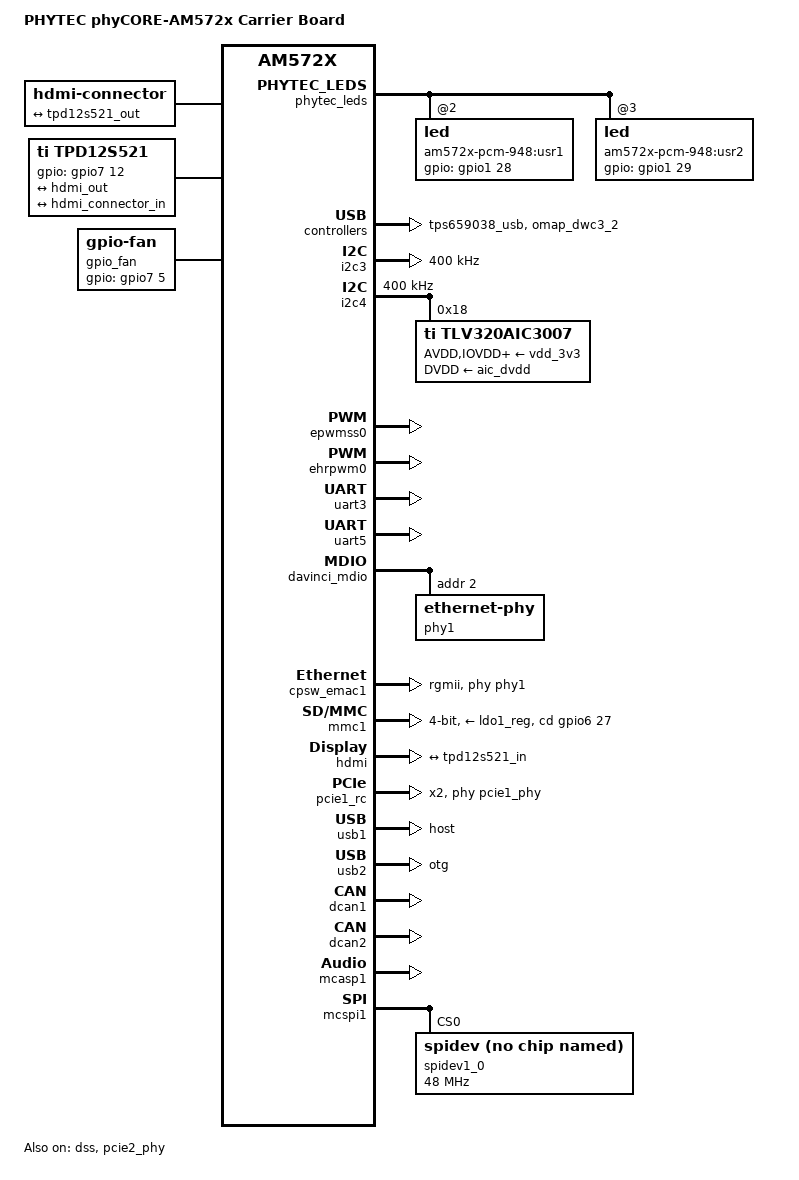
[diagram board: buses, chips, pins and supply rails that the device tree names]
/*
 * Copyright (C) 2015 PHYTEC America, LLC - www.phytec.com
 *
 * This program is free software; you can redistribute it and/or modify
 * it under the terms of the GNU General Public License version 2 as
 * published by the Free Software Foundation.
 */

/ {
	model = "PHYTEC phyCORE-AM572x Carrier Board";
	compatible = "phytec,am572x-pcm-948", "phytec,am572x-phycore-som", "ti,dra72", "ti,dra74", "ti,dra7";

	aliases {
		display0 = &lcd2;
		display1 = &hdmi0;

		sound0 = &rdk_audio;
		sound1 = &hdmi;
	};

	hdmi0: connector {
		compatible = "hdmi-connector";
		status = "okay";
		label = "hdmi";

		type = "a";

		port {
			hdmi_connector_in: endpoint {
				remote-endpoint = <&tpd12s521_out>;
			};
		};
	};

	tpd12s521: encoder {
		compatible = "ti,tpd12s521";
		status = "okay";

		gpios = <&gpio7 12 GPIO_ACTIVE_HIGH>;	/* gpio7_12/sp1_cs2, HPD */

		ports {
			#address-cells = <1>;
			#size-cells = <0>;

			port@0 {
				reg = <0>;

				tpd12s521_in: endpoint {
					remote-endpoint = <&hdmi_out>;
				};
			};

			port@1 {
				reg = <1>;

				tpd12s521_out: endpoint {
					remote-endpoint = <&hdmi_connector_in>;
				};
			};
		};
	};

	rdk_audio: sound {
		compatible = "simple-audio-card";
		status = "okay";
		simple-audio-card,name = "phyCORE-AM57xx-RDK";
		simple-audio-card,widgets =
			"Line", "Line Out",
			"Line", "Line In",
			"Microphone", "Mic Jack",
			"Headphone", "HP Jack";
		simple-audio-card,routing =
			"Line Out",	"LLOUT",
			"Line Out",	"RLOUT",

			"LINE1R",	"Line In",
			"LINE1R",	"Line In",

			"MIC3L",	"Mic Jack",
			"MIC3R",	"Mic Jack",
			"Mic Jack",	"Mic Bias",

			"HP Jack",	"HPLOUT",
			"HP Jack",	"HPROUT";
		simple-audio-card,format = "dsp_b";
		simple-audio-card,bitclock-master = <&sound_master>;
		simple-audio-card,frame-master = <&sound_master>;
		simple-audio-card,bitclock-inversion;

		simple-audio-card,cpu {
			sound-dai = <&mcasp1>;
		};

		sound_master: simple-audio-card,codec {
			sound-dai = <&tlv320aic3007>;
			clocks = <&clkout2_clk>;
		};
	};

	gpio_fan: gpio_fan {
		compatible = "gpio-fan";
		status = "okay";
		pinctrl-names = "default";
		pinctrl-0 = <&fan_pins_default>;

		gpios =  <&gpio7 5 GPIO_ACTIVE_HIGH>;
		gpio-fan,speed-map = <0    0
				      13000 1>;
		cooling-min-state = <0>;
		cooling-max-state = <1>;
		#cooling-cells = <2>;
	};

	/* For LVDS display at connector X25 */
	backlight: backlight {
		compatible = "pwm-backlight";
		status = "disabled";

		pinctrl-names = "default";
		pinctrl-0 = <&ehrpwm1a_pin>;

		pwms = <&ehrpwm0 0 50000 0>;
	};

	lcd2: display {
		status = "disabled";
		pinctrl-names = "default";
		pinctrl-0 = <&lcd_pins &lcd_pins_iodelay_conf>;

		label = "lcd2";

		enable-gpios = <&gpio8 23 GPIO_ACTIVE_LOW>;
	};

	/* For wilink8 interface at connector X26 */
	wlan_fixed: fixedregulator-wlan {
		compatible = "regulator-fixed";
		status = "disabled";

		pinctrl-names = "default";
		pinctrl-0 = <&wlan_pins_default>;

		regulator-name = "wlan_fixed";
		gpio = <&gpio1 24 GPIO_ACTIVE_HIGH>;
		enable-active-high;
	};

	/* For bluetooth (wilink8) at connector X26 */
	bt_kim: kim {
		status = "disabled";

		pinctrl-names = "default", "sleep";
		pinctrl-0 = <&bt_pins_default>;
		pinctrl-1 = <&bt_pins_sleep>;
		nshutdown_gpio = <22>;  /* GPIO1_22 */
		dev_name = "/dev/ttyS9"; /* UART10 for BT */
	};


	/* For parallel camera interface at connector X23 */
	cam_ext_mclk: cam_ext_mclk {
		compatible = "fixed-clock";
		status = "disabled";

		#clock-cells = <0>;
		clock-frequency = <27000000>;
	};

	vcam_fixed: fixedregulator-vcam {
		compatible = "regulator-fixed";
		status = "disabled";

		regulator-name = "vcam_fixed";
		regulator-min-microvolt = <2800000>;
		regulator-max-microvolt = <2800000>;
	};
};

&dra7_pmx_core {
	leds_cb_pins_default: leds_cb_pins_default {
		pinctrl-single,pins = <
			0x58 (PIN_OUTPUT | MUX_MODE14)	/* gpmc_a6.gpio1_28 */
			0x5c (PIN_OUTPUT | MUX_MODE14)	/* gpmc_a7.gpio1_29 */
		>;
	};

	leds_cb_pins_sleep: leds_cb_pins_sleep {
		pinctrl-single,pins = <
			0x58 (PIN_INPUT_PULLDOWN | MUX_MODE15)
			0x5c (PIN_INPUT_PULLDOWN | MUX_MODE15)
		>;
	};

	fan_pins_default: fan_pins_default {
		pinctrl-single,pins = <
			0x48 (PIN_OUTPUT | MUX_MODE14)	/* gpmc_a2.gpio7_5 */
		>;
	};

	i2c2_pins: pinmux_i2c2_pins {
		pinctrl-single,pins = <
			0x408 (PIN_INPUT | MUX_MODE1)	/* hdmi1_ddc_scl */
			0x40c (PIN_INPUT | MUX_MODE1)	/* hdmi1_ddc_sda */
		>;
	};

	i2c4_pins_default: i2c4_pins_default {
		pinctrl-single,pins = <
			0x40 (PIN_INPUT_PULLUP | MUX_MODE7)	/* gpmc_a0.i2c4_scl */
			0x44 (PIN_INPUT_PULLUP | MUX_MODE7)	/* gpmc_a1.i2c4_sda */
		>;
	};

	i2c4_pins_sleep: i2c4_pins_sleep {
		pinctrl-single,pins = <
			0x40 (PIN_INPUT | MUX_MODE15)
			0x44 (PIN_INPUT | MUX_MODE15)
		>;
	};

	uart3_pins_default: uart3_pins_default {
		pinctrl-single,pins = <
			0x248 (PIN_INPUT_SLEW | MUX_MODE0) /* uart3_rxd.rxd */
			0x24c (PIN_INPUT_SLEW | MUX_MODE0) /* uart3_txd.txd */
		>;
	};

	uart3_pins_sleep: uart3_pins_sleep{
		pinctrl-single,pins = <
			0x248 (PIN_INPUT | MUX_MODE15)
			0x24c (PIN_INPUT | MUX_MODE15)
		>;
	};

	uart5_pins_default: uart5_pins_default {
		pinctrl-single,pins = <
			0x1dc (PIN_INPUT_SLEW | MUX_MODE2) /* vout1_d0.uart5_rxd */
			0x1e0 (PIN_INPUT_SLEW | MUX_MODE2) /* vout1_d1.uart5_txd */
		>;
	};

	uart5_pins_sleep: uart5_pins_sleep{
		pinctrl-single,pins = <
			0x1dc (PIN_INPUT | MUX_MODE15)
			0x1e0 (PIN_INPUT | MUX_MODE15)
		>;
	};


	mmc1_pins_default: mmc1_pins_default {
		pinctrl-single,pins = <
			0x36c (PIN_INPUT | MUX_MODE14)	/* mmc1sdcd.gpio6_27 */
			0x354 (PIN_INPUT_PULLUP | MUX_MODE0) /* mmc1_clk.clk */
			0x358 (PIN_INPUT_PULLUP | MUX_MODE0) /* mmc1_cmd.cmd */
			0x35c (PIN_INPUT_PULLUP | MUX_MODE0) /* mmc1_dat0.dat0 */
			0x360 (PIN_INPUT_PULLUP | MUX_MODE0) /* mmc1_dat1.dat1 */
			0x364 (PIN_INPUT_PULLUP | MUX_MODE0) /* mmc1_dat2.dat2 */
			0x368 (PIN_INPUT_PULLUP | MUX_MODE0) /* mmc1_dat3.dat3 */
		>;
	};

	mmc1_pins_sleep: mmc1_pins_sleep {
		pinctrl-single,pins = <
			0x354 (PIN_INPUT | MUX_MODE15)
			0x358 (PIN_INPUT | MUX_MODE15)
			0x35c (PIN_INPUT | MUX_MODE15)
			0x360 (PIN_INPUT | MUX_MODE15)
			0x364 (PIN_INPUT | MUX_MODE15)
			0x368 (PIN_INPUT | MUX_MODE15)
			0x36c (PIN_INPUT | MUX_MODE15)
		>;
	};

	mmc1_pins_hs: mmc1_pins_hs {
		pinctrl-single,pins = <
			0x354 (PIN_INPUT_PULLUP | MUX_VIRTUAL_MODE11 | MUX_MODE0)       /* mmc1_clk.clk */
			0x358 (PIN_INPUT_PULLUP | MUX_VIRTUAL_MODE11 | MUX_MODE0)       /* mmc1_cmd.cmd */
			0x35c (PIN_INPUT_PULLUP | MUX_VIRTUAL_MODE11 | MUX_MODE0)       /* mmc1_dat0.dat0 */
			0x360 (PIN_INPUT_PULLUP | MUX_VIRTUAL_MODE11 | MUX_MODE0)       /* mmc1_dat1.dat1 */
			0x364 (PIN_INPUT_PULLUP | MUX_VIRTUAL_MODE11 | MUX_MODE0)       /* mmc1_dat2.dat2 */
			0x368 (PIN_INPUT_PULLUP | MUX_VIRTUAL_MODE11 | MUX_MODE0)       /* mmc1_dat3.dat3 */
		>;
	};

	wlan_pins_default: wlan_pins_default {
		pinctrl-single,pins = <
			0x39c (PIN_OUTPUT_PULLDOWN | MUX_MODE14) /* mmc3_dat6.gpio1_24 */
			0x3a0 (PIN_INPUT_PULLDOWN | MUX_MODE14)  /* mmc3_dat7.gpio1_25 */
		>;
	};

	bt_pins_default: bt_pins_default {
		pinctrl-single,pins = <
			0x170 (PIN_INPUT_SLEW | MUX_MODE8) /* vin2a_d2.uart10.rxd */
			0x174 (PIN_INPUT_SLEW | MUX_MODE8) /* vin2a_d3.uart10.txd */
			0x178 (PIN_INPUT_SLEW | MUX_MODE8) /* vin2a_d4.uart10.ctsn */
			0x17c (PIN_INPUT_SLEW | MUX_MODE8) /* vin2a_d5.uart10.rtsn */
			0x394 (PIN_OUTPUT_PULLDOWN | MUX_MODE14) /* mmc3_dat4.gpio1_22 */
		>;
	};

	bt_pins_sleep: bt_pins_sleep {
		pinctrl-single,pins = <
			0x170 (PIN_INPUT | MUX_MODE15)
			0x174 (PIN_INPUT | MUX_MODE15)
			0x178 (PIN_INPUT | MUX_MODE15)
			0x17c (PIN_INPUT | MUX_MODE15)
			0x394 (PIN_OUTPUT_PULLUP | MUX_MODE14)
		>;
	};

	emac1_pins_default: emac1_pins_default {
		pinctrl-single,pins = <
			/* Slave 2 */
			0x198 (PIN_OUTPUT | MUX_MODE3)	/* rgmii2_tclk */
			0x19c (PIN_OUTPUT | MUX_MODE3)	/* rgmii2_tctl */
			0x1a0 (PIN_OUTPUT | MUX_MODE3)	/* rgmii2_td3 */
			0x1a4 (PIN_OUTPUT | MUX_MODE3)	/* rgmii2_td2 */
			0x1a8 (PIN_OUTPUT | MUX_MODE3)	/* rgmii2_td1 */
			0x1ac (PIN_OUTPUT | MUX_MODE3)	/* rgmii2_td0 */
			0x1b0 (PIN_INPUT | MUX_MODE3)	/* rgmii2_rclk */
			0x1b4 (PIN_INPUT | MUX_MODE3)	/* rgmii2_rctl */
			0x1b8 (PIN_INPUT | MUX_MODE3)	/* rgmii2_rd3 */
			0x1bc (PIN_INPUT | MUX_MODE3)	/* rgmii2_rd2 */
			0x1c0 (PIN_INPUT | MUX_MODE3)	/* rgmii2_rd1 */
			0x1c4 (PIN_INPUT | MUX_MODE3)	/* rgmii2_rd0 */
		>;

	};

	emac1_pins_sleep: emac1_pins_sleep {
		pinctrl-single,pins = <
			/* Slave 2 */
			0x198 (PIN_INPUT | MUX_MODE15)
			0x19c (PIN_INPUT | MUX_MODE15)
			0x1a0 (PIN_INPUT | MUX_MODE15)
			0x1a4 (PIN_INPUT | MUX_MODE15)
			0x1a8 (PIN_INPUT | MUX_MODE15)
			0x1ac (PIN_INPUT | MUX_MODE15)
			0x1b0 (PIN_INPUT | MUX_MODE15)
			0x1b4 (PIN_INPUT | MUX_MODE15)
			0x1b8 (PIN_INPUT | MUX_MODE15)
			0x1bc (PIN_INPUT | MUX_MODE15)
			0x1c0 (PIN_INPUT | MUX_MODE15)
			0x1c4 (PIN_INPUT | MUX_MODE15)
		>;
	};

	hdmi_pins: pinmux_hdmi_pins {
		pinctrl-single,pins = <
			0x3b8 (PIN_INPUT_PULLDOWN | MUX_MODE14) /* spi1_cs2.gpio7_12 */
			0x3bc (PIN_INPUT_SLEW | MUX_MODE6)      /* spi1_cs3.hdmi1_cec */
		>;
	};

	usb1_pins: pinmux_usb1_pins {
		pinctrl-single,pins = <
			0x280 (PIN_INPUT_SLEW | MUX_MODE0) /* usb1_drvvbus */
			0x22c (PIN_INPUT | MUX_MODE14)     /* vout1_d20.gpio8_20 */
		>;
	};

	usb2_pins_default: pinmux_usb2_pins_default {
		pinctrl-single,pins = <
			0x284 (PIN_INPUT_SLEW | MUX_MODE0) /* usb2_drvvbus */
			0x230 (PIN_INPUT | MUX_MODE14)     /* vout1_d21.gpio8_21 */
		>;
	};

	usb2_pins_sleep: pinmux_usb2_pins_sleep {
		pinctrl-single,pins = <
			0x284 (PIN_INPUT_SLEW | MUX_MODE15) /* usb2_drvvbus */
			0x230 (PIN_INPUT | MUX_MODE14)     /* vout1_d21.gpio8_21 */
		>;
	};

	extcon_pins_default:  extcon_pins_default {
		pinctrl-single,pins = <
			0x1d0 (PIN_INPUT_PULLDOWN | MUX_MODE14)	/* vout1_fld.gpio4_21 */
			0x1f4 (PIN_INPUT | MUX_MODE14)		/* vout1_d6.gpio8_6 */
		>;
	};

	clkout2_pins_default: clkout2_pins_default {
		pinctrl-single,pins = <
			0x294 (PIN_INPUT_PULLDOWN | MUX_MODE9)	/* xref_clk0.clkout2 */
		>;
	};

	clkout2_pins_sleep: clkout2_pins_sleep {
		pinctrl-single,pins = <
			0x294 (PIN_INPUT | MUX_MODE15)	/* xref_clk0.clkout2 */
		>;
	};

	dcan1_pins: dcan1_pins {
		pinctrl-single,pins = <
			0x3d0 (PIN_OUTPUT_PULLUP | MUX_MODE0) /* dcan1_tx.tx */
			0x3d4 (PIN_INPUT_PULLUP | MUX_MODE0) /* dcan1_rx.rx */
		>;
	};

	dcan2_pins: dcan2_pins {
		pinctrl-single,pins = <
			0x288 (PIN_OUTPUT_PULLUP | MUX_MODE2) /* gpio6_14.dcan2_tx */
			0x28c (PIN_INPUT_PULLUP | MUX_MODE2) /* gpio6_15.dcan2_rx */
		>;
	};

	mcasp1_pins_default: mcasp1_pins_default {
		pinctrl-single,pins = <
			0x2a4 (PIN_INPUT_PULLDOWN | MUX_MODE0) /* mcasp1_aclkx.aclkx */
			0x2a8 (PIN_INPUT_PULLDOWN | MUX_MODE0) /* mcasp1_fsx.fsx */
			0x2ec (PIN_OUTPUT_PULLDOWN | MUX_MODE0) /* mcasp1_axr14.axr14 */
			0x2f0 (PIN_INPUT_PULLDOWN | MUX_MODE0) /* mcasp1_axr15.axr15 */
		>;
	};

	mcasp1_pins_sleep: mcasp1_pins_sleep {
		pinctrl-single,pins = <
			0x2a4 (PIN_INPUT | MUX_MODE15)
			0x2a8 (PIN_INPUT | MUX_MODE15)
			0x2ec (PIN_INPUT | MUX_MODE15)
			0x2f0 (PIN_INPUT | MUX_MODE15)
		>;
	};

	ehrpwm1a_pin: ehrpwm1a_pin {
		pinctrl-single,pins = <
			0xf4 (PIN_OUTPUT_PULLDOWN | MUX_MODE10) /* vin1a_d0.ehrpwm1A */
		>;
	};

	edt_ts_irq_pin: edt_ts_irq_pin {
		pinctrl-single,pins = <
			0x234 (PIN_INPUT_PULLUP | MUX_MODE14) /* vout1_d22.gpio8_22 */
		>;
	};

        lcd_pins: pinmux_lcd {
                pinctrl-single,pins = <
			0x158 (PIN_OUTPUT | MUX_MODE4 | SLEWCONTROL | MODE_SELECT)   /* vin2a_de0.vout2_de */
			0x15c (PIN_OUTPUT | MUX_MODE4 | SLEWCONTROL | MODE_SELECT)   /* vin2a_fld0.vout2_clk */
			0x160 (PIN_OUTPUT | MUX_MODE4 | SLEWCONTROL | MODE_SELECT)   /* vin2a_hsync0.vout2_hsync */
			0x164 (PIN_OUTPUT | MUX_MODE4 | SLEWCONTROL | MODE_SELECT)   /* vin2a_vsync0.vout2_vsync */
			0x2ac (PIN_OUTPUT | MUX_MODE6 | SLEWCONTROL | MODE_SELECT)   /* mcasp1_aclkr.vout2_d0 */
			0x2b0 (PIN_OUTPUT | MUX_MODE6 | SLEWCONTROL | MODE_SELECT)   /* mcasp1_fsr.vout2_d1 */
			0x2bc (PIN_OUTPUT | MUX_MODE6 | SLEWCONTROL | MODE_SELECT)   /* mcasp1_axr2.vout2_d2 */
			0x2c0 (PIN_OUTPUT | MUX_MODE6 | SLEWCONTROL | MODE_SELECT)   /* mcasp1_axr3.vout2_d3 */
			0x2c4 (PIN_OUTPUT | MUX_MODE6 | SLEWCONTROL | MODE_SELECT)   /* mcasp1_axr4.vout2_d4 */
			0x2c8 (PIN_OUTPUT | MUX_MODE6 | SLEWCONTROL | MODE_SELECT)   /* mcasp1_axr5.vout2_d5 */
			0x2cc (PIN_OUTPUT | MUX_MODE6 | SLEWCONTROL | MODE_SELECT)   /* mcasp1_axr6.vout2_d6 */
			0x2d0 (PIN_OUTPUT | MUX_MODE6 | SLEWCONTROL | MODE_SELECT)   /* mcasp1_axr7.vout2_d7 */
			0x2fc (PIN_OUTPUT | MUX_MODE6 | SLEWCONTROL | MODE_SELECT)   /* mcasp2_aclkr.vout2_d8 */
			0x300 (PIN_OUTPUT | MUX_MODE6 | SLEWCONTROL | MODE_SELECT)   /* mcasp2_fsr.vout2_d9 */
			0x304 (PIN_OUTPUT | MUX_MODE6 | SLEWCONTROL | MODE_SELECT)   /* mcasp2_axr0.vout2_d10 */
			0x308 (PIN_OUTPUT | MUX_MODE6 | SLEWCONTROL | MODE_SELECT)   /* mcasp2_axr1.vout2_d11 */
			0x314 (PIN_OUTPUT | MUX_MODE6 | SLEWCONTROL | MODE_SELECT)   /* mcasp2_axr4.vout2_d12 */
			0x318 (PIN_OUTPUT | MUX_MODE6 | SLEWCONTROL | MODE_SELECT)   /* mcasp2_axr5.vout2_d13 */
			0x31c (PIN_OUTPUT | MUX_MODE6 | SLEWCONTROL | MODE_SELECT)   /* mcasp2_axr6.vout2_d14 */
			0x320 (PIN_OUTPUT | MUX_MODE6 | SLEWCONTROL | MODE_SELECT)   /* mcasp2_axr7.vout2_d15 */
			0x334 (PIN_OUTPUT | MUX_MODE6 | SLEWCONTROL | MODE_SELECT)   /* mcasp4_aclkx.vout2_d16 */
			0x338 (PIN_OUTPUT | MUX_MODE6 | SLEWCONTROL | MODE_SELECT)   /* mcasp4_fsx.vout2_d17 */
			0x33c (PIN_OUTPUT | MUX_MODE6 | SLEWCONTROL | MODE_SELECT)   /* mcasp4_axr0.vout2_d18 */
			0x340 (PIN_OUTPUT | MUX_MODE6 | SLEWCONTROL | MODE_SELECT)   /* mcasp4_axr1.vout2_d19 */
			0x344 (PIN_OUTPUT | MUX_MODE6 | SLEWCONTROL | MODE_SELECT)   /* mcasp5_aclkx.vout2_d20 */
			0x348 (PIN_OUTPUT | MUX_MODE6 | SLEWCONTROL | MODE_SELECT)   /* mcasp5_fsx.vout2_d21 */
			0x34c (PIN_OUTPUT | MUX_MODE6 | SLEWCONTROL | MODE_SELECT)   /* mcasp5_axr0.vout2_d22 */
			0x350 (PIN_OUTPUT | MUX_MODE6 | SLEWCONTROL | MODE_SELECT)   /* mcasp5_axr1.vout2_d23 */

			0x238 (PIN_OUTPUT_PULLDOWN | MUX_MODE14) /* vout1_d23.gpio8_23 */
		>;
	};

	mmc3_pins_default: mmc3_pins_default {
		pinctrl-single,pins = <
			0x37c (PIN_INPUT_PULLUP | MODE_SELECT | MUX_MODE0) /* mmc3_clk.clk */
			0x380 (PIN_INPUT_PULLUP | MODE_SELECT | MUX_MODE0) /* mmc3_cmd.cmd */
			0x384 (PIN_INPUT_PULLUP | MODE_SELECT | MUX_MODE0) /* mmc3_dat0.dat0 */
			0x388 (PIN_INPUT_PULLUP | MODE_SELECT | MUX_MODE0) /* mmc3_dat1.dat1 */
			0x38c (PIN_INPUT_PULLUP | MODE_SELECT | MUX_MODE0) /* mmc3_dat2.dat2 */
			0x390 (PIN_INPUT_PULLUP | MODE_SELECT | MUX_MODE0) /* mmc3_dat3.dat3 */
		>;
	};

	mmc3_pins_sleep: mmc3_pins_sleep {
		pinctrl-single,pins = <
			0x37c (PIN_INPUT_PULLDOWN | MUX_MODE15)
			0x380 (PIN_INPUT_PULLDOWN | MUX_MODE15)
			0x384 (PIN_INPUT_PULLDOWN | MUX_MODE15)
			0x388 (PIN_INPUT_PULLDOWN | MUX_MODE15)
			0x38c (PIN_INPUT_PULLDOWN | MUX_MODE15)
			0x390 (PIN_INPUT_PULLDOWN | MUX_MODE15)
		>;
	};

	mmc3_pins_hs: mmc3_pins_hs {
		pinctrl-single,pins = <
			0x37c (PIN_INPUT_PULLUP | MODE_SELECT | MUX_MODE0) /* mmc3_clk.clk */
			0x380 (PIN_INPUT_PULLUP | MODE_SELECT | MUX_MODE0) /* mmc3_cmd.cmd */
			0x384 (PIN_INPUT_PULLUP | MODE_SELECT | MUX_MODE0) /* mmc3_dat0.dat0 */
			0x388 (PIN_INPUT_PULLUP | MODE_SELECT | MUX_MODE0) /* mmc3_dat1.dat1 */
			0x38c (PIN_INPUT_PULLUP | MODE_SELECT | MUX_MODE0) /* mmc3_dat2.dat2 */
			0x390 (PIN_INPUT_PULLUP | MODE_SELECT | MUX_MODE0) /* mmc3_dat3.dat3 */
		>;
	};

	mmc3_pins_sdr12: mmc3_pins_sdr12 {
		pinctrl-single,pins = <
			0x37c (PIN_INPUT_PULLUP | MODE_SELECT | MUX_MODE0) /* mmc3_clk.mmc3_clk */
			0x380 (PIN_INPUT_PULLUP | MODE_SELECT | MUX_MODE0) /* mmc3_cmd.mmc3_cmd */
			0x384 (PIN_INPUT_PULLUP | MODE_SELECT | MUX_MODE0) /* mmc3_dat0.mmc3_dat0 */
			0x388 (PIN_INPUT_PULLUP | MODE_SELECT | MUX_MODE0) /* mmc3_dat1.mmc3_dat1 */
			0x38c (PIN_INPUT_PULLUP | MODE_SELECT | MUX_MODE0) /* mmc3_dat2.mmc3_dat2 */
			0x390 (PIN_INPUT_PULLUP | MODE_SELECT | MUX_MODE0) /* mmc3_dat3.mmc3_dat3 */
		>;
	};

	mmc3_pins_sdr25: mmc3_pins_sdr25 {
		pinctrl-single,pins = <
			0x37c (PIN_INPUT_PULLUP | MODE_SELECT | MUX_MODE0) /* mmc3_clk.mmc3_clk */
			0x380 (PIN_INPUT_PULLUP | MODE_SELECT | MUX_MODE0) /* mmc3_cmd.mmc3_cmd */
			0x384 (PIN_INPUT_PULLUP | MODE_SELECT | MUX_MODE0) /* mmc3_dat0.mmc3_dat0 */
			0x388 (PIN_INPUT_PULLUP | MODE_SELECT | MUX_MODE0) /* mmc3_dat1.mmc3_dat1 */
			0x38c (PIN_INPUT_PULLUP | MODE_SELECT | MUX_MODE0) /* mmc3_dat2.mmc3_dat2 */
			0x390 (PIN_INPUT_PULLUP | MODE_SELECT | MUX_MODE0) /* mmc3_dat3.mmc3_dat3 */
		>;
	};

	mmc3_pins_sdr50: mmc3_pins_sdr50 {
		pinctrl-single,pins = <
			0x37c (PIN_INPUT_PULLUP | MODE_SELECT | MUX_MODE0) /* mmc3_clk.mmc3_clk */
			0x380 (PIN_INPUT_PULLUP | MODE_SELECT | MUX_MODE0) /* mmc3_cmd.mmc3_cmd */
			0x384 (PIN_INPUT_PULLUP | MODE_SELECT | MUX_MODE0) /* mmc3_dat0.mmc3_dat0 */
			0x388 (PIN_INPUT_PULLUP | MODE_SELECT | MUX_MODE0) /* mmc3_dat1.mmc3_dat1 */
			0x38c (PIN_INPUT_PULLUP | MODE_SELECT | MUX_MODE0) /* mmc3_dat2.mmc3_dat2 */
			0x390 (PIN_INPUT_PULLUP | MODE_SELECT | MUX_MODE0) /* mmc3_dat3.mmc3_dat3 */
		>;
	};

	pcie1_pins: pcie1_pins {
		pinctrl-single,pins = <
			0x1e8 (PIN_INPUT | MUX_MODE14)	/* vout1_d3.gpio8_3 */
			0x1ec (PIN_OUTPUT_PULLDOWN | MUX_MODE14) /* vout1_d4.gpio8_4 */
			0x1f0 (PIN_INPUT | MUX_MODE14)	/* vout1_d5.gpio8_5 */
			0x1f8 (PIN_OUTPUT | MUX_MODE14)	/* vout1_d7.gpio8_7 */
		>;
	};

        cam_pins_default: cam_pins_default {
                pinctrl-single,pins = <
			0x21c (PIN_INPUT_PULLDOWN | MUX_MODE4 | MODE_SELECT)   /* vout1_d16.vin3a_d0 */
			0x220 (PIN_INPUT_PULLDOWN | MUX_MODE4 | MODE_SELECT)   /* vout1_d17.vin3a_d1 */
			0x224 (PIN_INPUT_PULLDOWN | MUX_MODE4 | MODE_SELECT)   /* vout1_d18.vin3a_d2 */
			0x228 (PIN_INPUT_PULLDOWN | MUX_MODE4 | MODE_SELECT)   /* vout1_d19.vin3a_d3 */
			0x144 (PIN_INPUT_PULLDOWN | MUX_MODE6 | MODE_SELECT)   /* vin1a_d20.vin3a_d4 */
			0x148 (PIN_INPUT_PULLDOWN | MUX_MODE6 | MODE_SELECT)   /* vin1a_d21.vin3a_d5 */
			0x14c (PIN_INPUT_PULLDOWN | MUX_MODE6 | MODE_SELECT)   /* vin1a_d22.vin3a_d6 */
			0x150 (PIN_INPUT_PULLDOWN | MUX_MODE6 | MODE_SELECT)   /* vin1a_d23.vin3a_d7 */

			0xe0 (PIN_INPUT | MUX_MODE6 | MODE_SELECT) /* vin1b_clk1.vin3a_clk0 */

			0x60 (PIN_INPUT_PULLDOWN | MUX_MODE2 | MODE_SELECT)   /* gpmc_a8.vin3a_hsync0 */
			0x64 (PIN_INPUT_PULLDOWN | MUX_MODE2 | MODE_SELECT)   /* gpmc_a9.vin3a_vsync0 */
			0x68 (PIN_INPUT_PULLDOWN | MUX_MODE2 | MODE_SELECT)   /* gpmc_a10.vin3a_de0 */
			0x6c (PIN_INPUT_PULLDOWN | MUX_MODE2 | MODE_SELECT)   /* gpmc_a11.vin3a_fld0 */

			0xc0 (PIN_OUTPUT | MUX_MODE2)	/* gpmc_clk.clkout1 */
			0x1e4 (PIN_OUTPUT | MUX_MODE14)   /* vout1_d2.gpio8_2 */
		>;
	};

	i2c3_pins_default: pinmux_i2c3_default {
		pinctrl-single,pins = <
			0x374 (PIN_INPUT_PULLUP | MUX_MODE2) /* gpio6_10.i2c3_sda */
			0x378 (PIN_INPUT_PULLUP | MUX_MODE2) /* gpio6_11.i2c3_scl */
		>;
	};

	i2c3_pins_sleep: pinmux_i2c3_sleep {
		pinctrl-single,pins = <
			0x374 (PIN_INPUT | MUX_MODE15)
			0x378 (PIN_INPUT | MUX_MODE15)
		>;
	};
};

&dra7_iodelay_core {
	lcd_pins_iodelay_conf: lcd_pins_iodelay_conf {
		pinctrl-single,pins = <
			0xb6c (A_DELAY_PS(2000) | G_DELAY_PS(229))	/* CFG_VIN2A_DE0_OUT */
			0xb78 (A_DELAY_PS(0) | G_DELAY_PS(697))	/* CFG_VIN2A_FLD0_OUT */
			0xb84 (A_DELAY_PS(2516) | G_DELAY_PS(0))	/* CFG_VIN2A_HSYNC0_OUT */
			0xb90 (A_DELAY_PS(1937) | G_DELAY_PS(406))	/* CFG_VIN2A_VSYNC0_OUT */
			0x3b0 (A_DELAY_PS(3116) | G_DELAY_PS(360))	/* CFG_MCASP1_ACLKR_OUT */
			0x488 (A_DELAY_PS(1170) | G_DELAY_PS(1000))	/* CFG_MCASP1_FSR_OUT */
			0x428 (A_DELAY_PS(1321) | G_DELAY_PS(1250))	/* CFG_MCASP1_AXR2_OUT */
			0x434 (A_DELAY_PS(1275) | G_DELAY_PS(1020))	/* CFG_MCASP1_AXR3_OUT */
			0x440 (A_DELAY_PS(1392) | G_DELAY_PS(1360))	/* CFG_MCASP1_AXR4_OUT */
			0x44c (A_DELAY_PS(2364) | G_DELAY_PS(240))	/* CFG_MCASP1_AXR5_OUT */
			0x458 (A_DELAY_PS(1480) | G_DELAY_PS(1090))	/* CFG_MCASP1_AXR6_OUT */
			0x464 (A_DELAY_PS(1307) | G_DELAY_PS(1180))	/* CFG_MCASP1_AXR7_OUT */

			0x4a0 (A_DELAY_PS(2983) | G_DELAY_PS(240))	/* CFG_MCASP2_ACLKR_OUT */
			0x4b8 (A_DELAY_PS(1721) | G_DELAY_PS(120))	/* CFG_MCASP2_AXR0_OUT */
			0x4c4 (A_DELAY_PS(1067) | G_DELAY_PS(840))	/* CFG_MCASP2_AXR1_OUT */
			0x4e8 (A_DELAY_PS(1093) | G_DELAY_PS(1040))	/* CFG_MCASP2_AXR4_OUT */
			0x4f4 (A_DELAY_PS(1810) | G_DELAY_PS(240))	/* CFG_MCASP2_AXR5_OUT */
			0x500 (A_DELAY_PS(2844) | G_DELAY_PS(240))	/* CFG_MCASP2_AXR6_OUT */
			0x50c (A_DELAY_PS(1608) | G_DELAY_PS(120))	/* CFG_MCASP2_AXR7_OUT */
			0x518 (A_DELAY_PS(980) | G_DELAY_PS(536))	/* CFG_MCASP2_FSR_OUT */

			0x560 (A_DELAY_PS(1635) | G_DELAY_PS(1240))	/* CFG_MCASP4_ACLKX_OUT */
			0x56c (A_DELAY_PS(1569) | G_DELAY_PS(120))	/* CFG_MCASP4_AXR0_OUT */
			0x578 (A_DELAY_PS(798) | G_DELAY_PS(600))	/* CFG_MCASP4_AXR1_OUT */
			0x584 (A_DELAY_PS(893) | G_DELAY_PS(540))	/* CFG_MCASP4_FSX_OUT */

			0x590 (A_DELAY_PS(4400) | G_DELAY_PS(1820))	/* CFG_MCASP5_ACLKX_OUT */
			0x59c (A_DELAY_PS(4640) | G_DELAY_PS(980))	/* CFG_MCASP5_AXR0_OUT */
			0x5a8 (A_DELAY_PS(4200) | G_DELAY_PS(1120))	/* CFG_MCASP5_AXR1_OUT */
			0x5b4 (A_DELAY_PS(4330) | G_DELAY_PS(1160))	/* CFG_MCASP5_FSX_OUT */
		>;
	};

	mmc3_iodelay_conf: mmc3_iodelay_conf {
		pinctrl-single,pins = <
			0x678 (A_DELAY_PS(406) | G_DELAY_PS(0))       /* CFG_MMC3_CLK_IN */
			0x680 (A_DELAY_PS(659) | G_DELAY_PS(0))       /* CFG_MMC3_CLK_OUT */
			0x684 (A_DELAY_PS(0) | G_DELAY_PS(0))         /* CFG_MMC3_CMD_IN */
			0x688 (A_DELAY_PS(0) | G_DELAY_PS(0))         /* CFG_MMC3_CMD_OEN */
			0x68c (A_DELAY_PS(0) | G_DELAY_PS(0))         /* CFG_MMC3_CMD_OUT */
			0x690 (A_DELAY_PS(130) | G_DELAY_PS(0))       /* CFG_MMC3_DAT0_IN */
			0x694 (A_DELAY_PS(0) | G_DELAY_PS(0))         /* CFG_MMC3_DAT0_OEN */
			0x698 (A_DELAY_PS(0) | G_DELAY_PS(0))         /* CFG_MMC3_DAT0_OUT */
			0x69c (A_DELAY_PS(169) | G_DELAY_PS(0))       /* CFG_MMC3_DAT1_IN */
			0x6a0 (A_DELAY_PS(0) | G_DELAY_PS(0))         /* CFG_MMC3_DAT1_OEN */
			0x6a4 (A_DELAY_PS(0) | G_DELAY_PS(0))         /* CFG_MMC3_DAT1_OUT */
			0x6a8 (A_DELAY_PS(0) | G_DELAY_PS(0))         /* CFG_MMC3_DAT2_IN */
			0x6ac (A_DELAY_PS(0) | G_DELAY_PS(0))         /* CFG_MMC3_DAT2_OEN */
			0x6b0 (A_DELAY_PS(0) | G_DELAY_PS(0))         /* CFG_MMC3_DAT2_OUT */
			0x6b4 (A_DELAY_PS(457) | G_DELAY_PS(0))       /* CFG_MMC3_DAT3_IN */
			0x6b8 (A_DELAY_PS(0) | G_DELAY_PS(0))         /* CFG_MMC3_DAT3_OEN */
			0x6bc (A_DELAY_PS(0) | G_DELAY_PS(0))         /* CFG_MMC3_DAT3_OUT */
		>;
	};

	cam_pins_iodelay_conf: cam_pins_iodelay_conf {
		pinctrl-single,pins = <
			0xbf4 (A_DELAY_PS(1996) | G_DELAY_PS(632))	/* CFG_VOUT1_D16_IN */
			0xc00 (A_DELAY_PS(2190) | G_DELAY_PS(790))	/* CFG_VOUT1_D17_IN */
			0xc0c (A_DELAY_PS(2100) | G_DELAY_PS(604))	/* CFG_VOUT1_D18_IN */
			0xc18 (A_DELAY_PS(2108) | G_DELAY_PS(286))	/* CFG_VOUT1_D19_IN */

			0x96c (A_DELAY_PS(1854) | G_DELAY_PS(1624))	/* CFG_VIN1A_D20_IN */
			0x978 (A_DELAY_PS(1906) | G_DELAY_PS(1520))	/* CFG_VIN1A_D21_IN */
			0x984 (A_DELAY_PS(1807) | G_DELAY_PS(1437))	/* CFG_VIN1A_D22_IN */
			0x990 (A_DELAY_PS(1996) | G_DELAY_PS(997))	/* CFG_VIN1A_D23_IN */

			0xa2c (A_DELAY_PS(0) | G_DELAY_PS(0))	/* CFG_VIN1B_CLK1_IN */

			0x24c (A_DELAY_PS(2154) | G_DELAY_PS(978))	/* CFG_GPMC_A8_IN */
			0x258 (A_DELAY_PS(2185) | G_DELAY_PS(1152))	/* CFG_GPMC_A9_IN */
			0x120 (A_DELAY_PS(2108) | G_DELAY_PS(823))	/* CFG_GPMC_A10_IN */
			0x12c (A_DELAY_PS(2068) | G_DELAY_PS(977))	/* CFG_GPMC_A11_IN */
		>;
	};
};

&phytec_leds {
	pinctrl-0 = <&leds_som_pins_default &leds_cb_pins_default>;

	led@2 {
		label = "am572x-pcm-948:usr1";
		gpios = <&gpio1 28 GPIO_ACTIVE_HIGH>;
		linux,default-trigger = "gpio";
		default-state = "off";
	};

	led@3 {
		label = "am572x-pcm-948:usr2";
		gpios = <&gpio1 29 GPIO_ACTIVE_HIGH>;
		linux,default-trigger = "gpio";
		default-state = "off";
	};
};

&tps659038 {
	tps659038_usb: tps659038_usb {
		status = "okay";
		compatible = "ti,palmas-usb-vid";
		pinctrl-names = "default";
		pinctrl-0 = <&extcon_pins_default>;
		id-gpio = <&gpio8 6 GPIO_ACTIVE_HIGH>;
		vbus-gpio = <&gpio4 21 GPIO_ACTIVE_HIGH>;

		ti,enable-vbus-detection;
		ti,enable-id-detection;
	};
};

&i2c3 {
	status = "okay";
	pinctrl-names = "default", "sleep";
	pinctrl-0 = <&i2c3_pins_default>;
	pinctrl-1 = <&i2c3_pins_sleep>;
	clock-frequency = <400000>;

	vm_009: mt9m111@48 {
		status = "disabled";

		pinctrl-names = "default";
		pinctrl-0 = <&cam_pins_default &cam_pins_iodelay_conf>;
		reset-gpios = <&gpio8 2 1>;

		clocks = <&cam_ext_mclk 0>;
		clock-names = "mclk";

		mt9m111,fixed-clock = <27000000>;
		mt9m111,allow-burst;
	};

	vm_011: mt9p031@48 {
		status = "disabled";

		pinctrl-names = "default";
		pinctrl-0 = <&cam_pins_default &cam_pins_iodelay_conf>;
		reset-gpios = <&gpio8 2 1>;

		vdd-supply = <&vcam_fixed>;
		vdd_io-supply = <&vcam_fixed>;
		vaa-supply = <&vcam_fixed>;

		clocks = <&cam_ext_mclk 0>;
		clock-names = "mclk";
	};
};

&i2c4 {
	status = "okay";
	pinctrl-names = "default", "sleep";
	pinctrl-0 = <&i2c4_pins_default>;
	pinctrl-1 = <&i2c4_pins_sleep>;
	clock-frequency = <400000>;

	tlv320aic3007: tlv320aic3007@18 {
		#sound-dai-cells = <0>;
		compatible = "ti,tlv320aic3007";
		reg = <0x18>;
		pinctrl-names = "default", "sleep";
		pinctrl-0 = <&clkout2_pins_default>;
		pinctrl-1 = <&clkout2_pins_sleep>;
		status = "okay";
		ai3x-micbias-vg = <2>;
		adc-settle-ms = <40>;

		AVDD-supply = <&vdd_3v3>;
		IOVDD-supply = <&vdd_3v3>;
		DRVDD-supply = <&vdd_3v3>;
		DVDD-supply = <&aic_dvdd>;
	};

	ft5x06: ft5x06@38 {
		pinctrl-names = "default";
		pinctrl-0 = <&edt_ts_irq_pin>;
		interrupt-parent = <&gpio8>;
		interrupts = <22 0>;
		status = "disabled";
	};

	stmpe811: stmpe811@41 {
		compatible = "st,stmpe811";
		status = "disabled";
		reg = <0x41>;
		interrupt-parent = <&gpio6>;
		interrupts = <4 IRQ_TYPE_LEVEL_LOW>;
		interrupt-controller;

		wakeup-source;
		st,autosleep-timeout = <1024>;

		stmpe_touchscreen {
			compatible = "st,stmpe-ts";
			st,sample-time = <4>;
			st,mod-12b = <1>;
			st,ref-sel = <0>;
			st,adc-freq = <1>;
			st,ave-ctrl = <1>;
			st,touch-det-delay = <2>;
			st,settling = <2>;
			st,fraction-z = <7>;
			st,i-drive = <1>;
		};
	};
};

&epwmss0 {
	status = "okay";
};

/* ehrpwm0 maps to EHRPWM1 signal name */
&ehrpwm0 {
	status = "okay";
};

&uart3 {
        status = "okay";
        pinctrl-names = "default";
        pinctrl-0 = <&uart3_pins_default>;

	interrupts-extended = <&crossbar_mpu GIC_SPI 69 IRQ_TYPE_LEVEL_HIGH
			       &dra7_pmx_core 0x248>;
};

&uart5 {
        status = "okay";
        pinctrl-names = "default", "sleep";
        pinctrl-0 = <&uart5_pins_default>;
        pinctrl-1 = <&uart5_pins_sleep>;

	interrupts-extended = <&crossbar_mpu GIC_SPI 100 IRQ_TYPE_LEVEL_HIGH
			       &dra7_pmx_core 0x1dc>;
};

&mac {
	slaves = <2>;
	pinctrl-names = "default", "sleep";
	pinctrl-0 = <&emac0_pins_default &emac1_pins_default>;
	pinctrl-1 = <&emac0_pins_sleep &emac1_pins_sleep>;
	dual_emac;
};

&davinci_mdio {
	phy1: ethernet-phy@2 {
		reg = <2>;

		rxc-skew-ps = <1860>;
	};
};

&cpsw_emac1 {
	status = "okay";

	phy-handle = <&phy1>;
	phy-mode = "rgmii";
	dual_emac_res_vlan = <2>;
};

&mmc1 {
	status = "okay";
	pinctrl-names = "default", "sleep", "hs";
	pinctrl-0 = <&mmc1_pins_default>;
	pinctrl-1 = <&mmc1_pins_sleep>;
	pinctrl-2 = <&mmc1_pins_hs>;
	vmmc-supply = <&ldo1_reg>;
	bus-width = <4>;
	cd-gpios = <&gpio6 27 0>; /* gpio 219 */
	max-frequency = <96000000>;
};

&mmc3 {
        status = "disabled";
	pinctrl-names = "default", "sleep", "hs", "sdr12", "sdr25", "sdr50";
        pinctrl-0 = <&mmc3_pins_default &mmc3_iodelay_conf>;
        pinctrl-1 = <&mmc3_pins_sleep &mmc3_iodelay_conf>;
        pinctrl-2 = <&mmc3_pins_hs &mmc3_iodelay_conf>;
        pinctrl-3 = <&mmc3_pins_sdr12 &mmc3_iodelay_conf>;
        pinctrl-4 = <&mmc3_pins_sdr25 &mmc3_iodelay_conf>;
        pinctrl-5 = <&mmc3_pins_sdr50 &mmc3_iodelay_conf>;
	bus-width = <4>;

	#address-cells = <1>;
	#size-cells = <0>;
	wlcore: wlcore@0 {
		status = "disabled";

		interrupt-parent = <&gpio1>;
		interrupts = <25 IRQ_TYPE_EDGE_RISING>;
	};
};

&dss {
	status = "okay";

	vdda_video-supply = <&ldoln_reg>;

	ports {
		#address-cells = <1>;
		#size-cells = <0>;
		lcd_port: port {
			status = "disabled";

			reg = <1>;
		};
	};
};

&hdmi {
	status = "okay";

	vdda-supply = <&ldo4_reg>;
	pinctrl-names = "default";
	pinctrl-0 = <&hdmi_pins &i2c2_pins>;

	port {
		hdmi_out: endpoint {
			remote-endpoint = <&tpd12s521_in>;
		};
	};
};

&pcie2_phy {
	status = "okay";
};

&pcie1_rc {
	status = "okay";
	pinctrl-names = "default";
	pinctrl-0 = <&pcie1_pins>;

/* FIXME (RR): pci-dra7xx driver ignores the GPIO_ACTIVE_ flags
 *             and only cares about pcie-reset-active-low */
	pcie-reset-active-low;
	pcie-clk-oe-gpio = <&gpio8 7 GPIO_ACTIVE_HIGH>;
	pcie-reset-gpio = <&gpio8 4 GPIO_ACTIVE_LOW>; /* PWRGD (X27-A11) */

	num-lanes = <2>;
	phys = <&pcie1_phy>, <&pcie2_phy>;
	phy-names = "pcie-phy0", "pcie-phy1";
	syscon-dual-lane = <&scm_conf_pcie 0x18 0x5>;
};

&sata {
	ports-implemented = <1>;
};

&usb2_phy1 {
       phy-supply = <&ldousb_reg>;
};

&usb2_phy2 {
       phy-supply = <&ldousb_reg>;
};

&usb1 {
	status = "okay";
	dr_mode = "host";
	pinctrl-names = "default";
	pinctrl-0 = <&usb1_pins>;
};

&omap_dwc3_2 {
	status = "okay";
	extcon = <&tps659038_usb>;
};

&usb2 {
	status = "okay";
	pinctrl-names = "default", "sleep";
	pinctrl-0 = <&usb2_pins_default>;
	pinctrl-1 = <&usb2_pins_sleep>;

	dr_mode = "otg";
};

&dcan1 {
	status = "okay";
	pinctrl-names = "default";
	pinctrl-0 = <&dcan1_pins>;
};

&dcan2 {
	status = "okay";
	pinctrl-names = "default";
	pinctrl-0 = <&dcan2_pins>;
};

&mcasp1 {
	#sound-dai-cells = <0>;
	status = "okay";
	pinctrl-names = "default", "sleep";
	pinctrl-0 = <&mcasp1_pins_default>;
	pinctrl-1 = <&mcasp1_pins_sleep>;

	op-mode = <0>;  /* MCASP_IIS_MODE */
	tdm-slots = <2>;
	/* mcasp1_axr14 = TX, mcasp1_axr15 = RX */
	serial-dir = <  /* 0: INACTIVE, 1: TX, 2: RX */
		0 0 0 0
		0 0 0 0
		0 0 0 0
		0 0 1 2
	>;
	tx-num-evt = <32>;
	rx-num-evt = <32>;
};

&mcspi1 {
	spidev1_0: spidev1@0 {
		compatible = "linux,spidev";

		reg = <0>;
		spi-max-frequency = <48000000>;
	};
};

&cpu_trips {
	cpu_alert1: cpu_alert1 {
		temperature = <40000>; /* millicelsius */
		hysteresis = <2000>; /* millicelsius */
		type = "active";
	};
};

&cpu_cooling_maps {
	map1 {
		trip = <&cpu_alert1>;
		cooling-device = <&gpio_fan THERMAL_NO_LIMIT THERMAL_NO_LIMIT>;
	};
};
